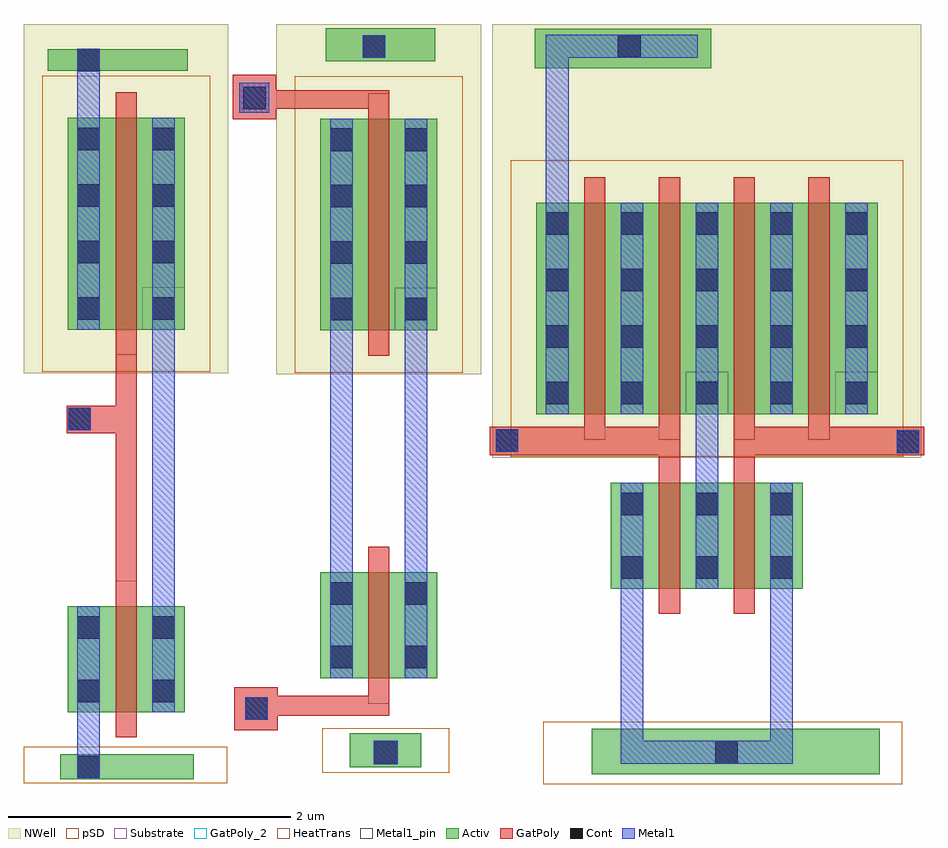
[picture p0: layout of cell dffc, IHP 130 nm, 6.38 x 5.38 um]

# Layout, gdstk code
import gdstk
lib = gdstk.Library(unit=1e-6, precision=5e-09)
def R(c, l, rs):  # rectangles x0, y0, x1, y1
    for r in rs: c.add(gdstk.rectangle(r[:2], r[2:], *l))
def A(c, l, x, y, w, h, nx, ny, dx, dy):  # array of equal rectangles
    R(c, l, [(x+i*dx, y+j*dy, x+i*dx+w, y+j*dy+h) for i in range(nx) for j in range(ny)])
Activ = (1, 0)
GatPoly = (5, 0)
GatPoly_2 = (5, 2)
Cont = (6, 0)
Metal1 = (8, 0)
Metal1_pin = (8, 2)
pSD = (14, 0)
NWell = (31, 0)
Substrate = (40, 0)
HeatTrans = (51, 0)

nmos_2 = lib.new_cell('nmos$2')
R(nmos_2, Activ, [(0,0,0.3,0.3), (0,0,0.83,0.75), (0.53,0,0.83,0.3)])
R(nmos_2, GatPoly, [(0.34,-0.18,0.49,0.93)])
R(nmos_2, GatPoly_2, [(0.34,-0.18,0.49,0.93)])
R(nmos_2, Cont, [(0.07,0.07,0.23,0.23), (0.6,0.07,0.76,0.23), (0.07,0.52,0.23,0.68), (0.6,0.52,0.76,0.68)])
R(nmos_2, Metal1, [(0.07,0,0.23,0.75), (0.6,0,0.76,0.75)])
R(nmos_2, Metal1_pin, [(0.07,0,0.23,0.75), (0.6,0,0.76,0.75)])
R(nmos_2, HeatTrans, [(0.34,-0.18,0.49,0.93)])
nmos_2.add(gdstk.Label('nmos', (0.415,0.375), layer=63, texttype=0))
nmos_2.add(gdstk.Label('nmos', (0.415,0.375), layer=51, texttype=0))

pmos = lib.new_cell('pmos')
A(pmos, Activ, 0, 0, 0.3, 0.3, 3, 1, 0.53, 0)
R(pmos, Activ, [(0,0,1.36,1.5)])
R(pmos, GatPoly, [(0.34,-0.18,0.49,1.68), (0.34,-0.18,0.49,1.68), (0.87,-0.18,1.02,1.68)])
A(pmos, Cont, 0.07, 0.07, 0.16, 0.16, 3, 4, 0.53, 0.4)
R(pmos, Metal1, [(0.07,0,0.23,1.5), (0.07,0,0.23,1.5), (0.6,0,0.76,1.5), (0.6,0,0.76,1.5), (1.13,0,1.29,1.5)])
R(pmos, pSD, [(-0.18,-0.3,1.54,1.8)])
R(pmos, NWell, [(-0.31,-0.31,1.67,1.81)])
R(pmos, Substrate, [(1.06,0,1.36,0.3)])
R(pmos, HeatTrans, [(0.34,-0.18,0.49,1.68), (0.87,-0.18,1.02,1.68)])
pmos.add(gdstk.Label('pmos', (0.415,0.75), layer=63, texttype=0))
pmos.add(gdstk.Label('pmos', (0.415,0.75), layer=51, texttype=0))
pmos.add(gdstk.Label('pmos', (0.945,0.75), layer=51, texttype=0))

nor2 = lib.new_cell('nor2')
R(nor2, Activ, [(-2.13,0.34,-0.09,0.66), (-2.535,5.34,-1.285,5.62)])
R(nor2, GatPoly, [(-1.655,2.585,-1.505,2.855), (-1.125,2.585,-0.975,2.855), (-2.855,2.6,-1.655,2.8), (-1.125,2.6,0.225,2.8)])
R(nor2, Cont, [(-1.255,0.415,-1.095,0.575), (0.03,2.615,0.19,2.775), (-2.81,2.625,-2.65,2.785), (-1.945,5.42,-1.785,5.58)])
R(nor2, Metal1, [(-1.925,0.415,-1.765,1.885), (-1.925,0.415,-0.705,0.575), (-1.255,0.415,-1.095,0.575), (-0.865,0.415,-0.705,1.885), (-1.395,2.17,-1.235,3.115), (0.03,2.615,0.19,2.775), (-2.81,2.625,-2.65,2.785), (-2.455,4.165,-2.295,5.58), (-2.45,5.415,-1.38,5.58), (-1.945,5.42,-1.79,5.58)])
R(nor2, Metal1_pin, [(-1.255,0.415,-1.095,0.575), (0.03,2.615,0.19,2.775), (-2.81,2.625,-2.65,2.785), (-1.395,2.965,-1.235,3.125), (-1.94,5.42,-1.785,5.58)])
R(nor2, pSD, [(-2.475,0.27,0.07,0.71)])
R(nor2, NWell, [(-2.835,4.7,0.205,5.655)])
nor2.add(gdstk.Reference(nmos_2, (-1.465,1.655)))
nor2.add(gdstk.Reference(nmos_2, (-1.995,1.655)))
nor2.add(gdstk.Reference(pmos, (-2.525,2.89)))
nor2.add(gdstk.Reference(pmos, (-1.465,2.89)))
nor2.add(gdstk.Label('A', (-1.87,2.755), layer=8, texttype=2))
nor2.add(gdstk.Label('B', (-0.745,2.755), layer=8, texttype=2))
nor2.add(gdstk.Label('vdd', (-1.865,5.5), layer=8, texttype=2))
nor2.add(gdstk.Label('out', (-1.315,3.05), layer=8, texttype=2))
nor2.add(gdstk.Label('vss', (-1.23,0.47), layer=8, texttype=2))

nmos = lib.new_cell('nmos')
R(nmos, Activ, [(0,0,0.3,0.3), (0,0,0.83,0.75), (0.53,0,0.83,0.3)])
R(nmos, GatPoly, [(0.34,-0.18,0.49,0.93)])
R(nmos, GatPoly_2, [(0.34,-0.18,0.49,0.93)])
R(nmos, Cont, [(0.07,0.07,0.23,0.23), (0.6,0.07,0.76,0.23), (0.07,0.52,0.23,0.68), (0.6,0.52,0.76,0.68)])
R(nmos, Metal1, [(0.07,0,0.23,0.75), (0.6,0,0.76,0.75)])
R(nmos, Metal1_pin, [(0.07,0,0.23,0.75), (0.6,0,0.76,0.75)])
R(nmos, HeatTrans, [(0.34,-0.18,0.49,0.93)])
nmos.add(gdstk.Label('nmos', (0.415,0.375), layer=63, texttype=0))
nmos.add(gdstk.Label('nmos', (0.415,0.375), layer=51, texttype=0))

pmos_1_1 = lib.new_cell('pmos$1$1')
R(pmos_1_1, Activ, [(0,0,0.3,0.3), (0,0,0.83,1.5), (0.53,0,0.83,0.3)])
R(pmos_1_1, GatPoly, [(0.34,-0.18,0.49,1.68), (0.34,-0.18,0.49,1.68)])
A(pmos_1_1, Cont, 0.07, 0.07, 0.16, 0.16, 1, 4, 0, 0.4)
A(pmos_1_1, Cont, 0.6, 0.07, 0.16, 0.16, 1, 4, 0, 0.4)
R(pmos_1_1, Metal1, [(0.07,0,0.23,1.5), (0.07,0,0.23,1.5), (0.6,0,0.76,1.5), (0.6,0,0.76,1.5)])
R(pmos_1_1, pSD, [(-0.18,-0.3,1.01,1.8)])
R(pmos_1_1, NWell, [(-0.31,-0.31,1.14,1.81)])
R(pmos_1_1, Substrate, [(0.53,0,0.83,0.3)])
R(pmos_1_1, HeatTrans, [(0.34,-0.18,0.49,1.68)])
pmos_1_1.add(gdstk.Label('pmos', (0.415,0.75), layer=63, texttype=0))
pmos_1_1.add(gdstk.Label('pmos', (0.415,0.75), layer=51, texttype=0))

inverter = lib.new_cell('inverter')
R(inverter, Activ, [(-0.48,-2.175,0.465,-2), (-0.57,2.845,0.42,2.995)])
R(inverter, GatPoly, [(-0.09,-0.77,0.06,0.83), (-0.435,0.275,-0.135,0.47), (-0.135,0.275,-0.09,0.47)])
R(inverter, Cont, [(-0.36,-2.17,-0.2,-2.01), (-0.425,0.295,-0.265,0.455), (-0.36,2.84,-0.2,3)])
R(inverter, Metal1, [(-0.36,-2.17,-0.2,-2.01), (-0.36,-2.01,-0.2,-1.7), (0.17,-1.175,0.33,1.235), (-0.425,0.295,-0.265,0.455), (-0.36,2.51,-0.2,2.84), (-0.36,2.84,-0.2,3)])
R(inverter, Metal1_pin, [(-0.36,-2.17,-0.2,-2.01), (-0.425,0.295,-0.265,0.455), (0.17,1.08,0.33,1.24), (-0.36,2.84,-0.2,3)])
R(inverter, pSD, [(-0.74,-2.205,0.7,-1.945)])
R(inverter, NWell, [(-0.74,2.82,0.71,3.175)])
inverter.add(gdstk.Reference(nmos, (-0.43,-1.7)))
inverter.add(gdstk.Reference(pmos_1_1, (-0.43,1.01)))
inverter.add(gdstk.Label('out', (0.21,1.115), layer=8, texttype=2))
inverter.add(gdstk.Label('VSS', (-0.26,-2.12), layer=8, texttype=2))
inverter.add(gdstk.Label('VDD', (-0.26,2.975), layer=8, texttype=2))
inverter.add(gdstk.Label('in', (-0.32,0.36), layer=8, texttype=2))

pmos_1 = lib.new_cell('pmos$1')
R(pmos_1, Activ, [(0,0,0.3,0.3), (0,0,0.83,1.5), (0.53,0,0.83,0.3)])
R(pmos_1, GatPoly, [(0.34,-0.18,0.49,1.68), (0.34,-0.18,0.49,1.68)])
A(pmos_1, Cont, 0.07, 0.07, 0.16, 0.16, 1, 4, 0, 0.4)
A(pmos_1, Cont, 0.6, 0.07, 0.16, 0.16, 1, 4, 0, 0.4)
R(pmos_1, Metal1, [(0.07,0,0.23,1.5), (0.07,0,0.23,1.5), (0.6,0,0.76,1.5), (0.6,0,0.76,1.5)])
R(pmos_1, pSD, [(-0.18,-0.3,1.01,1.8)])
R(pmos_1, NWell, [(-0.31,-0.31,1.14,1.81)])
R(pmos_1, Substrate, [(0.53,0,0.83,0.3)])
R(pmos_1, HeatTrans, [(0.34,-0.18,0.49,1.68)])
pmos_1.add(gdstk.Label('pmos', (0.415,0.75), layer=63, texttype=0))
pmos_1.add(gdstk.Label('pmos', (0.415,0.75), layer=51, texttype=0))

nmos_1 = lib.new_cell('nmos$1')
R(nmos_1, Activ, [(0,0,0.3,0.3), (0,0,0.83,0.75), (0.53,0,0.83,0.3)])
R(nmos_1, GatPoly, [(0.34,-0.18,0.49,0.93)])
R(nmos_1, GatPoly_2, [(0.34,-0.18,0.49,0.93)])
R(nmos_1, Cont, [(0.07,0.07,0.23,0.23), (0.6,0.07,0.76,0.23), (0.07,0.52,0.23,0.68), (0.6,0.52,0.76,0.68)])
R(nmos_1, Metal1, [(0.07,0,0.23,0.75), (0.6,0,0.76,0.75)])
R(nmos_1, Metal1_pin, [(0.07,0,0.23,0.75), (0.6,0,0.76,0.75)])
R(nmos_1, HeatTrans, [(0.34,-0.18,0.49,0.93)])
nmos_1.add(gdstk.Label('nmos', (0.415,0.375), layer=63, texttype=0))
nmos_1.add(gdstk.Label('nmos', (0.415,0.375), layer=51, texttype=0))

c_tg = lib.new_cell('tg')
R(c_tg, Activ, [(-0.78,-0.425,-0.275,-0.185), (-0.95,4.575,-0.175,4.81)])
R(c_tg, GatPoly, [(-1.6,-0.165,-1.29,0.14), (-1.29,-0.06,-0.5,0.08), (-1.61,4.165,-1.3,4.48), (-1.3,4.24,-0.5,4.37)])
R(c_tg, Cont, [(-0.61,-0.405,-0.44,-0.24), (-1.52,-0.09,-1.36,0.07), (-1.535,4.235,-1.375,4.395), (-0.69,4.6,-0.53,4.76), (-0.69,4.6,-0.53,4.76)])
R(c_tg, Metal1, [(-0.61,-0.405,-0.44,-0.24), (-1.52,-0.09,-1.36,0.07), (-0.92,0.725,-0.76,0.885), (-0.39,0.725,-0.23,0.885), (-0.92,0.955,-0.76,2.67), (-0.39,0.955,-0.23,2.67), (-1.565,4.21,-1.35,4.425), (-0.69,4.6,-0.53,4.76)])
R(c_tg, Metal1_pin, [(-0.61,-0.405,-0.44,-0.24), (-1.52,-0.09,-1.36,0.07), (-0.92,0.725,-0.76,0.885), (-0.39,0.725,-0.23,0.885), (-1.535,4.235,-1.375,4.395), (-0.69,4.6,-0.53,4.76)])
R(c_tg, pSD, [(-0.975,-0.465,-0.075,-0.15)])
R(c_tg, NWell, [(-1.3,4.48,0.15,4.84)])
c_tg.add(gdstk.Reference(pmos_1, (-0.99,2.67)))
c_tg.add(gdstk.Reference(nmos_1, (-0.99,0.205)))
c_tg.add(gdstk.Label('vdd', (-0.61,4.665), layer=8, texttype=2))
c_tg.add(gdstk.Label('in', (-0.84,0.81), layer=8, texttype=2))
c_tg.add(gdstk.Label('out', (-0.305,0.765), layer=8, texttype=2))
c_tg.add(gdstk.Label('E', (-1.405,0.01), layer=8, texttype=2))
c_tg.add(gdstk.Label('E_n', (-1.48,4.305), layer=8, texttype=2))
c_tg.add(gdstk.Label('vss', (-0.545,-0.35), layer=8, texttype=2))

dffc = lib.new_cell('dffc')
dffc.add(gdstk.Reference(nor2, (0.92,-0.84)))
dffc.add(gdstk.Reference(inverter, (-4.495,1.64)))
dffc.add(gdstk.Reference(c_tg, (-2.145,-0.025)))

lib.write_gds('dffc.gds')
